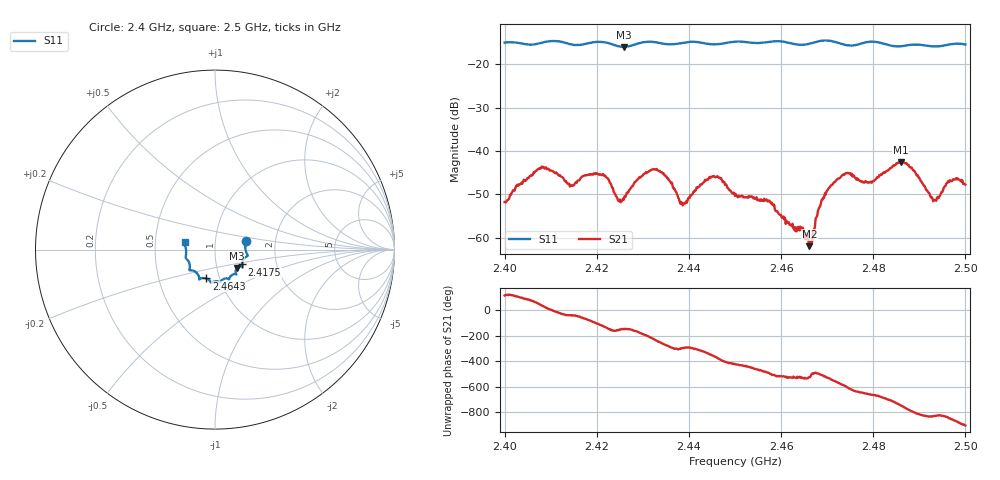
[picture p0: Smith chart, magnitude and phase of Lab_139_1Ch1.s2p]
# Hz S RI R 50
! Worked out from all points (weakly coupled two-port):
!   601 points, 2.4 GHz to 2.5 GHz, reference 50 ohm
!   highest |S21| = -42.60 dB at 2.486 GHz (marker M1); lowest = -62.0 dB at 2.4662 GHz (marker M2)
!   lowest |S11| = -16.0 dB at 2.4258 GHz (marker M3), VSWR 1.38, Z = 62.4 - j13.1 ohm
!   |S11| at or under -10 dB: start of sweep to end of sweep
!   S12 and S22 are empty: the file has one direction only
!   S11 on the Smith chart (normalised r, x): 2.4 GHz: 1.41, +0.14; 2.4175 GHz: 1.33, -0.23; 2.4643 GHz: 0.86, -0.29; 2.5 GHz: 0.72, +0.06
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2.4e9  0.1717 0.0491  -0.00109 0.00232  0 0  0 0
2.407833e9  0.1756 -0.0181  0.00473 0.00409  0 0  0 0
2.4145e9  0.1625 -0.0494  0.00294 -0.00272  0 0  0 0
2.416667e9  0.1521 -0.0732  0.0026 -0.00424  0 0  0 0
2.4175e9  0.1511 -0.0826  0.00193 -0.0049  0 0  0 0
2.421833e9  0.1526 -0.0941  -0.00355 -0.00376  0 0  0 0
2.425833e9  0.122 -0.1021  -0.00236 -0.00136  0 0  0 0
2.433333e9  0.114 -0.1362  -0.00224 0.0055  0 0  0 0
2.438667e9  0.0811 -0.1576  0.0011 0.00207  0 0  0 0
2.445e9  0.0566 -0.1611  0.00504 0.000502  0 0  0 0
2.45e9  0.0296 -0.1809  0.00126 -0.00274  0 0  0 0
2.457167e9  -0.0142 -0.1806  -0.00166 -0.002  0 0  0 0
2.464333e9  -0.0488 -0.1609  -0.00126 -0.000171  0 0  0 0
2.466167e9  -0.0701 -0.1584  -0.000776 -0.000169  0 0  0 0
2.466667e9  -0.0752 -0.1594  -0.000642 -0.000539  0 0  0 0
2.468667e9  -0.0867 -0.1657  -0.00218 -0.00131  0 0  0 0
2.471833e9  -0.0876 -0.1586  -0.00418 0.00161  0 0  0 0
2.483333e9  -0.1401 -0.0908  0.00584 0.00161  0 0  0 0
2.486e9  -0.1489 -0.0633  0.00646 -0.00364  0 0  0 0
2.493167e9  -0.1606 -0.0132  -0.00101 -0.00249  0 0  0 0
2.496833e9  -0.1688 0.0258  -0.00319 -0.00314  0 0  0 0
2.5e9  -0.1645 0.0417  -0.00407 0.000431  0 0  0 0
